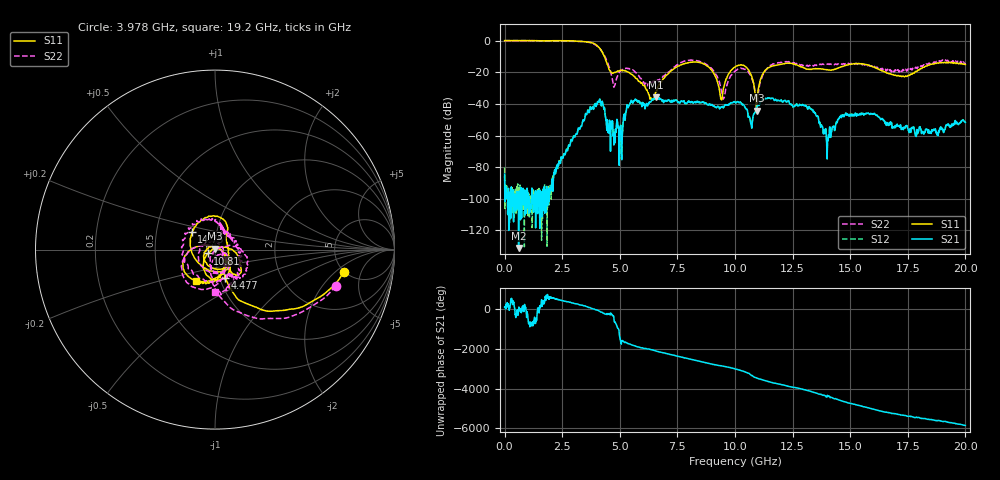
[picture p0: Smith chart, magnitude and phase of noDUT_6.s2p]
#  HZ  S  RI  R  50.00
! Rohde & Schwarz Vector Network Analyzer
! Rohde-Schwarz,ZNB20-2Port,1311601062102128,3.60
! Created: UTC 4/29/2024, 2:42:09 PM
! freq[Hz]  re:S11  im:S11  re:S21  im:S21  re:S12  im:S12  re:S22  im:S22
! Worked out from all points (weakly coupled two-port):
!   2007 points, 100 kHz to 20 GHz, reference 50 ohm
!   highest |S21| = -35.79 dB at 6.58 GHz (marker M1); lowest = -131.1 dB at 608.3 MHz (marker M2)
!   lowest |S11| = -44.2 dB at 10.94 GHz (marker M3), VSWR 1.01, Z = 49.8 + j0.597 ohm
!   |S11| at or under -10 dB: 4.332 GHz to end of sweep
!   |S22| runs from -44.1 to 0.1 dB; largest |S21 - S12| = 0.00084
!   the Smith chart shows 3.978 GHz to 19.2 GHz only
!   S11 on the Smith chart (normalised r, x): 3.978 GHz: 4.89, -2.63; 4.477 GHz: 1.07, -0.34; 10.81 GHz: 0.92, -0.04; 14.75 GHz: 0.76, +0.15; 19.2 GHz: 0.76, -0.28
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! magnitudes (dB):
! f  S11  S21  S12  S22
! 100 kHz  0.0  -84.4  -80.1  0.1
! 608.3 MHz  0.1  -131.1  -103.0  0.0
! 2.223 GHz  -0.1  -82.9  -81.7  -0.3
! 3.34 GHz  -0.6  -54.2  -53.8  -0.6
! 3.978 GHz  -2.8  -40.7  -41.1  -3.1
! 4.477 GHz  -15.5  -55.3  -55.3  -14.0
! 5.035 GHz  -18.6  -53.5  -53.4  -18.9
! 5.404 GHz  -20.1  -41.0  -41.0  -17.7
! 6.58 GHz  -32.1  -35.8  -35.8  -25.5
! 6.67 GHz  -28.7  -36.7  -36.7  -24.9
! 8.365 GHz  -13.6  -38.5  -38.5  -12.8
! 9.412 GHz  -37.3  -42.1  -42.0  -31.8
! 10 GHz  -16.7  -38.8  -38.7  -19.3
! 10.81 GHz  -26.9  -46.7  -46.6  -27.1
! 10.94 GHz  -44.2  -42.2  -42.2  -43.3
! 11.6 GHz  -16.2  -36.4  -36.4  -15.4
! 13.34 GHz  -18.1  -43.7  -43.9  -15.6
! 13.99 GHz  -18.4  -69.5  -69.4  -15.0
! 14.75 GHz  -15.9  -47.4  -47.4  -15.0
! 16.67 GHz  -20.9  -53.6  -53.5  -19.5
! 19.2 GHz  -13.8  -53.2  -53.3  -12.6
! 20 GHz  -15.2  -51.8  -51.7  -14.2
